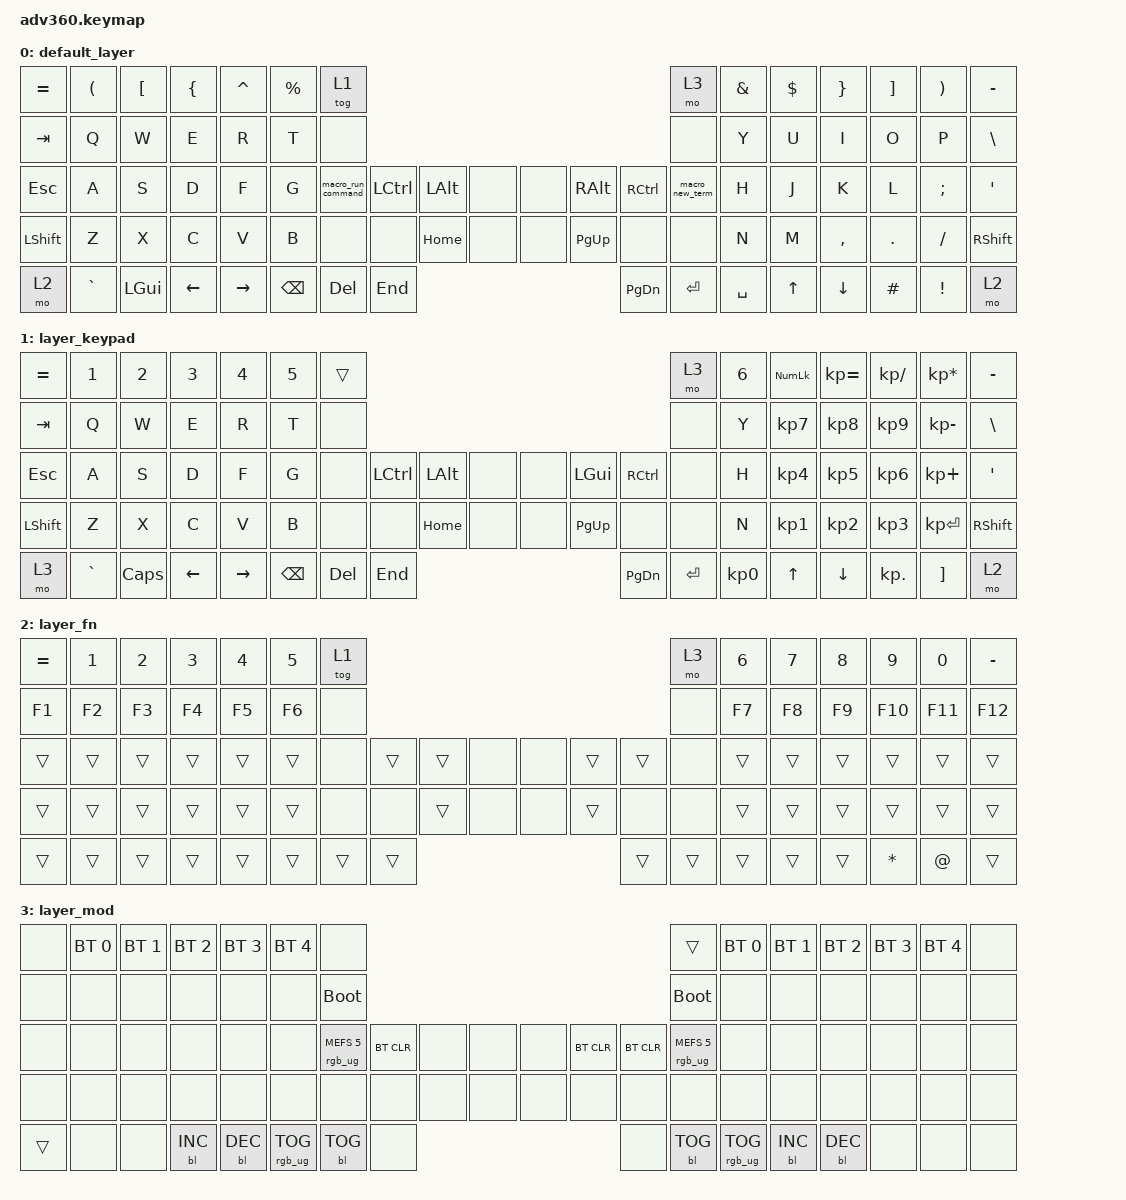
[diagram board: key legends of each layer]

/*
 * Copyright (c) 2020 The ZMK Contributors
 *
 * SPDX-License-Identifier: MIT
 */


/* THIS FILE WAS GENERATED!
 *
 * This file was generated automatically. You may or may not want to
 * edit it directly.
 */

#include <behaviors.dtsi>
#include <dt-bindings/zmk/keys.h>
#include <dt-bindings/zmk/bt.h>
#include <dt-bindings/zmk/rgb.h>
#include <dt-bindings/zmk/backlight.h>

/ {
  behaviors {
    #include "macros.dtsi"

    hm: homerow_mods {
        compatible = "zmk,behavior-hold-tap";
        label = "HOMEROW_MODS";
        #binding-cells = <2>;
        tapping-term-ms = <200>;
        quick_tap_ms = <175>;
        flavor = "tap-preferred";
        bindings = <&kp>, <&kp>;
    };
  };

    keymap {
        compatible = "zmk,keymap";


        default_layer {
            bindings = <
 &kp EQUAL  &kp LEFT_PARENTHESIS  &kp LEFT_BRACKET  &kp LEFT_BRACE  &kp CARET  &kp PERCENT                        &tog 1                                                                           &mo 3  &kp AMPERSAND  &kp DOLLAR  &kp RIGHT_BRACE  &kp RIGHT_BRACKET  &kp RIGHT_PARENTHESIS  &kp MINUS
   &kp TAB                 &kp Q             &kp W           &kp E      &kp R        &kp T                         &none                                                                           &none          &kp Y       &kp U            &kp I              &kp O                  &kp P   &kp BSLH
   &kp ESC                 &kp A             &kp S           &kp D      &kp F        &kp G            &macro_run_command  &kp LCTRL  &kp LALT   &none   &none  &kp RIGHT_ALT  &kp RCTRL  &macro_new_term          &kp H       &kp J            &kp K              &kp L               &kp SEMI    &kp SQT
 &kp LSHFT                 &kp Z             &kp X           &kp C      &kp V        &kp B                         &none      &none  &kp HOME   &none   &none      &kp PG_UP      &none            &none          &kp N       &kp M        &kp COMMA            &kp DOT               &kp FSLH  &kp RSHFT
     &mo 2             &kp GRAVE          &kp LGUI        &kp LEFT  &kp RIGHT                                   &kp BSPC    &kp DEL   &kp END                      &kp PG_DN  &kp ENTER        &kp SPACE                     &kp UP         &kp DOWN           &kp HASH        &kp EXCLAMATION      &mo 2
            >;
        };

        layer_keypad {
            bindings = <
 &kp EQUAL     &kp N1    &kp N2    &kp N3     &kp N4  &kp N5              &trans                                                                 &mo 3  &kp N6  &kp KP_NUM  &kp KP_EQUAL  &kp KP_DIVIDE  &kp KP_MULTIPLY  &kp MINUS
   &kp TAB      &kp Q     &kp W     &kp E      &kp R   &kp T               &none                                                                 &none   &kp Y   &kp KP_N7     &kp KP_N8      &kp KP_N9     &kp KP_MINUS   &kp BSLH
   &kp ESC      &kp A     &kp S     &kp D      &kp F   &kp G               &none  &kp LCTRL  &kp LALT   &none   &none   &kp LGUI  &kp RCTRL      &none   &kp H   &kp KP_N4     &kp KP_N5      &kp KP_N6      &kp KP_PLUS    &kp SQT
 &kp LSHFT      &kp Z     &kp X     &kp C      &kp V   &kp B               &none      &none  &kp HOME   &none   &none  &kp PG_UP      &none      &none   &kp N   &kp KP_N1     &kp KP_N2      &kp KP_N3     &kp KP_ENTER  &kp RSHFT
     &mo 3  &kp GRAVE  &kp CAPS  &kp LEFT  &kp RIGHT                    &kp BSPC    &kp DEL   &kp END                  &kp PG_DN  &kp ENTER  &kp KP_N0              &kp UP      &kp DOWN     &kp KP_DOT         &kp RBKT      &mo 2
            >;
        };

        layer_fn {
            bindings = <
 &kp EQUAL  &kp NUMBER_1  &kp NUMBER_2  &kp NUMBER_3  &kp NUMBER_4  &kp NUMBER_5            &tog 1                                                   &mo 3  &kp NUMBER_6  &kp NUMBER_7  &kp NUMBER_8  &kp NUMBER_9  &kp NUMBER_0  &kp MINUS
    &kp F1        &kp F2        &kp F3        &kp F4        &kp F5        &kp F6             &none                                                   &none        &kp F7        &kp F8        &kp F9       &kp F10       &kp F11    &kp F12
    &trans        &trans        &trans        &trans        &trans        &trans             &none  &trans  &trans   &none   &none  &trans  &trans   &none        &trans        &trans        &trans        &trans        &trans     &trans
    &trans        &trans        &trans        &trans        &trans        &trans             &none   &none  &trans   &none   &none  &trans   &none   &none        &trans        &trans        &trans        &trans        &trans     &trans
    &trans        &trans        &trans        &trans        &trans                          &trans  &trans  &trans                  &trans  &trans  &trans                      &trans        &trans      &kp STAR        &kp AT     &trans
            >;
        };

        layer_mod {
            bindings = <
  &none  &bt BT_SEL 0  &bt BT_SEL 1  &bt BT_SEL 2  &bt BT_SEL 3  &bt BT_SEL 4                             &none                                                                              &trans  &bt BT_SEL 0  &bt BT_SEL 1  &bt BT_SEL 2  &bt BT_SEL 3  &bt BT_SEL 4   &none
  &none         &none         &none         &none         &none         &none                       &bootloader                                                                         &bootloader         &none         &none         &none         &none         &none   &none
  &none         &none         &none         &none         &none         &none            &rgb_ug RGB_MEFS_CMD 5  &bt BT_CLR   &none   &none   &none  &bt BT_CLR  &bt BT_CLR  &rgb_ug RGB_MEFS_CMD 5         &none         &none         &none         &none         &none   &none
  &none         &none         &none         &none         &none         &none                             &none       &none   &none   &none   &none       &none       &none                   &none         &none         &none         &none         &none         &none   &none
 &trans         &none         &none    &bl BL_INC    &bl BL_DEC                                 &rgb_ug RGB_TOG  &bl BL_TOG   &none                       &none  &bl BL_TOG         &rgb_ug RGB_TOG                  &bl BL_INC    &bl BL_DEC         &none         &none   &none
            >;
        };

    };
};
